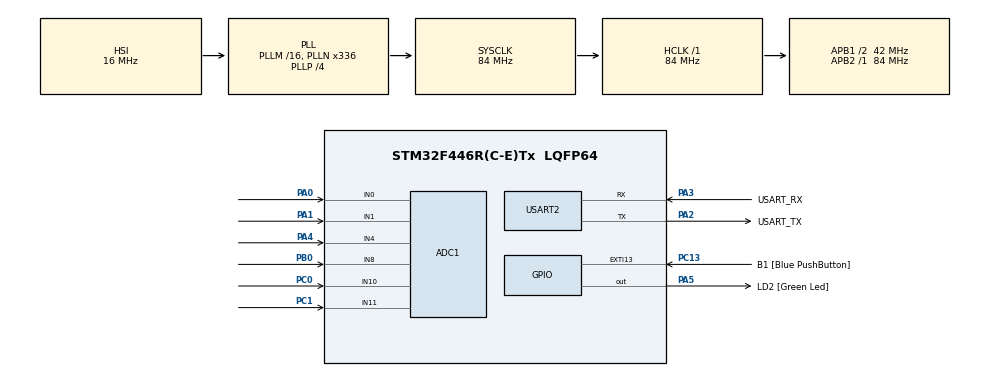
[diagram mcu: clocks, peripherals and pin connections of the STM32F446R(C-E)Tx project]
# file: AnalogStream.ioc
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ADC1.Channel-1\#ChannelRegularConversion=ADC_CHANNEL_0
ADC1.Channel-2\#ChannelRegularConversion=ADC_CHANNEL_1
ADC1.Channel-3\#ChannelRegularConversion=ADC_CHANNEL_4
ADC1.Channel-4\#ChannelRegularConversion=ADC_CHANNEL_8
ADC1.Channel-5\#ChannelRegularConversion=ADC_CHANNEL_10
ADC1.Channel-6\#ChannelRegularConversion=ADC_CHANNEL_11
ADC1.ContinuousConvMode=DISABLE
ADC1.DMAContinuousRequests=ENABLE
ADC1.ExternalTrigConv=ADC_EXTERNALTRIGCONV_T2_TRGO
ADC1.NbrOfConversion=6
ADC1.NbrOfConversionFlag=1
ADC1.Rank-1\#ChannelRegularConversion=1
ADC1.Rank-2\#ChannelRegularConversion=2
ADC1.Rank-3\#ChannelRegularConversion=3
ADC1.Rank-4\#ChannelRegularConversion=4
ADC1.Rank-5\#ChannelRegularConversion=5
ADC1.Rank-6\#ChannelRegularConversion=6
ADC1.SamplingTime-1\#ChannelRegularConversion=ADC_SAMPLETIME_3CYCLES
ADC1.SamplingTime-2\#ChannelRegularConversion=ADC_SAMPLETIME_3CYCLES
ADC1.SamplingTime-3\#ChannelRegularConversion=ADC_SAMPLETIME_3CYCLES
ADC1.SamplingTime-4\#ChannelRegularConversion=ADC_SAMPLETIME_3CYCLES
ADC1.SamplingTime-5\#ChannelRegularConversion=ADC_SAMPLETIME_3CYCLES
ADC1.SamplingTime-6\#ChannelRegularConversion=ADC_SAMPLETIME_3CYCLES
ADC1.ScanConvMode=ENABLE
ADC1.master=1
Dma.ADC1.0.Direction=DMA_PERIPH_TO_MEMORY
Dma.ADC1.0.FIFOMode=DMA_FIFOMODE_DISABLE
Dma.ADC1.0.Instance=DMA2_Stream0
Dma.ADC1.0.MemDataAlignment=DMA_MDATAALIGN_HALFWORD
Dma.ADC1.0.MemInc=DMA_MINC_ENABLE
Dma.ADC1.0.Mode=DMA_CIRCULAR
Dma.ADC1.0.PeriphDataAlignment=DMA_PDATAALIGN_HALFWORD
Dma.ADC1.0.PeriphInc=DMA_PINC_DISABLE
Dma.ADC1.0.Priority=DMA_PRIORITY_LOW
Dma.Request0=ADC1
Mcu.Family=STM32F4
Mcu.Name=STM32F446R(C-E)Tx
Mcu.Package=LQFP64
NVIC.DMA2_Stream0_IRQn=true\:0\:0\:false\:false\:true\:false\:true\:true
NVIC.PriorityGroup=NVIC_PRIORITYGROUP_0
NVIC.TIM2_IRQn=true\:0\:0\:false\:false\:true\:true\:true\:true
PA0-WKUP.Signal=ADCx_IN0
PA1.Signal=ADCx_IN1
PA13.GPIO_Label=TMS
PA13.Mode=Serial_Wire
PA13.Signal=SYS_JTMS-SWDIO
PA14.GPIO_Label=TCK
PA14.Mode=Serial_Wire
PA14.Signal=SYS_JTCK-SWCLK
PA2.GPIO_Label=USART_TX
PA2.Mode=Asynchronous
PA2.Signal=USART2_TX
PA3.GPIO_Label=USART_RX
PA3.Mode=Asynchronous
PA3.Signal=USART2_RX
PA4.Signal=ADCx_IN4
PA5.GPIO_Label=LD2 [Green Led]
PA5.Signal=GPIO_Output
PB0.Signal=ADCx_IN8
PB3.GPIO_Label=SWO
PB3.Signal=SYS_JTDO-SWO
PC0.Signal=ADCx_IN10
PC1.Signal=ADCx_IN11
PC13.GPIO_Label=B1 [Blue PushButton]
PC13.GPIO_ModeDefaultEXTI=GPIO_MODE_IT_FALLING
PC13.Signal=GPXTI13
PC14-OSC32_IN.Mode=LSE-External-Oscillator
PC14-OSC32_IN.Signal=RCC_OSC32_IN
PC15-OSC32_OUT.Mode=LSE-External-Oscillator
PC15-OSC32_OUT.Signal=RCC_OSC32_OUT
PH0-OSC_IN.Mode=HSE-External-Oscillator
PH0-OSC_IN.Signal=RCC_OSC_IN
PH1-OSC_OUT.Mode=HSE-External-Oscillator
PH1-OSC_OUT.Signal=RCC_OSC_OUT
ProjectManager.HeapSize=0x200
ProjectManager.StackSize=0x400
ProjectManager.TargetToolchain=STM32CubeIDE
RCC.48MHZClocksFreq_Value=84000000
RCC.AHBFreq_Value=84000000
RCC.APB1CLKDivider=RCC_HCLK_DIV2
RCC.APB1Freq_Value=42000000
RCC.APB1TimFreq_Value=84000000
RCC.APB2Freq_Value=84000000
RCC.APB2TimFreq_Value=84000000
RCC.CortexFreq_Value=84000000
RCC.FLatency-AdvancedSettings=FLASH_LATENCY_2
RCC.HCLKFreq_Value=84000000
RCC.HSE_VALUE=8000000
RCC.HSI_VALUE=16000000
RCC.PLLN=336
RCC.PLLP=RCC_PLLP_DIV4
RCC.SYSCLKFreq_VALUE=84000000
RCC.SYSCLKSource=RCC_SYSCLKSOURCE_PLLCLK
RCC.USBFreq_Value=168000000
RCC.VCOOutputFreq_Value=336000000
SH.ADCx_IN0.0=ADC1_IN0,IN0
SH.ADCx_IN1.0=ADC1_IN1,IN1
SH.ADCx_IN10.0=ADC1_IN10,IN10
SH.ADCx_IN11.0=ADC1_IN11,IN11
SH.ADCx_IN4.0=ADC1_IN4,IN4
SH.ADCx_IN8.0=ADC1_IN8,IN8
TIM2.AutoReloadPreload=TIM_AUTORELOAD_PRELOAD_ENABLE
TIM2.Period=5000
TIM2.Prescaler=84
TIM2.TIM_MasterOutputTrigger=TIM_TRGO_UPDATE
USART2.VirtualMode=VM_ASYNC
VP_TIM2_VS_ClockSourceINT.Mode=Internal
board=NUCLEO-F446RE

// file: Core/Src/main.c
/* USER CODE BEGIN Header */
/**
 ******************************************************************************
 * @file           : main.c
 * @brief          : Main program body
 ******************************************************************************
 * @attention
 *
 * Copyright (c) 2023 STMicroelectronics.
 * All rights reserved.
 *
 * This software is licensed under terms that can be found in the LICENSE file
 * in the root directory of this software component.
 * If no LICENSE file comes with this software, it is provided AS-IS.
 *
 ******************************************************************************
 */
/* USER CODE END Header */
#include "main.h"

/* USER CODE BEGIN PD */
#define ADC_BUFFER_LENGTH 12
/* USER CODE END PD */

ADC_HandleTypeDef hadc1;
DMA_HandleTypeDef hdma_adc1;

TIM_HandleTypeDef htim2;

UART_HandleTypeDef huart2;

/* USER CODE BEGIN PV */

uint16_t adc_buffer[ADC_BUFFER_LENGTH];

/* USER CODE END PV */

void SystemClock_Config(void);
static void MX_GPIO_Init(void);
static void MX_DMA_Init(void);
static void MX_USART2_UART_Init(void);
static void MX_TIM2_Init(void);
static void MX_ADC1_Init(void);

int main(void)
{

  /* MCU Configuration--------------------------------------------------------*/

  /* Reset of all peripherals, Initializes the Flash interface and the Systick. */
  HAL_Init();

  /* Configure the system clock */
  SystemClock_Config();

  /* Initialize all configured peripherals */
  MX_GPIO_Init();
  MX_DMA_Init();
  MX_USART2_UART_Init();
  MX_TIM2_Init();
  MX_ADC1_Init();
  /* USER CODE BEGIN 2 */
  // HAL_GPIO_TogglePin(LD2_GPIO_Port, LD2_Pin);
  // HAL_ADCEx_Calibration_Start(&hadc1);
  HAL_TIM_Base_Start_IT(&htim2);
  HAL_ADC_Start_DMA(&hadc1, (uint32_t *)adc_buffer, ADC_BUFFER_LENGTH);
  /* USER CODE END 2 */

  /* Infinite loop */
  while (1)
  {

  }
}

void SystemClock_Config(void)
{
  RCC_OscInitTypeDef RCC_OscInitStruct = {0};
  RCC_ClkInitTypeDef RCC_ClkInitStruct = {0};

  /** Configure the main internal regulator output voltage
  */
  __HAL_RCC_PWR_CLK_ENABLE();
  __HAL_PWR_VOLTAGESCALING_CONFIG(PWR_REGULATOR_VOLTAGE_SCALE3);

  /** Initializes the RCC Oscillators according to the specified parameters
  * in the RCC_OscInitTypeDef structure.
  */
  RCC_OscInitStruct.OscillatorType = RCC_OSCILLATORTYPE_HSI;
  RCC_OscInitStruct.HSIState = RCC_HSI_ON;
  RCC_OscInitStruct.HSICalibrationValue = RCC_HSICALIBRATION_DEFAULT;
  RCC_OscInitStruct.PLL.PLLState = RCC_PLL_ON;
  RCC_OscInitStruct.PLL.PLLSource = RCC_PLLSOURCE_HSI;
  RCC_OscInitStruct.PLL.PLLM = 16;
  RCC_OscInitStruct.PLL.PLLN = 336;
  RCC_OscInitStruct.PLL.PLLP = RCC_PLLP_DIV4;
  RCC_OscInitStruct.PLL.PLLQ = 2;
  RCC_OscInitStruct.PLL.PLLR = 2;
  if (HAL_RCC_OscConfig(&RCC_OscInitStruct) != HAL_OK)
  {
    Error_Handler();
  }

  /** Initializes the CPU, AHB and APB buses clocks
  */
  RCC_ClkInitStruct.ClockType = RCC_CLOCKTYPE_HCLK|RCC_CLOCKTYPE_SYSCLK
                              |RCC_CLOCKTYPE_PCLK1|RCC_CLOCKTYPE_PCLK2;
  RCC_ClkInitStruct.SYSCLKSource = RCC_SYSCLKSOURCE_PLLCLK;
  RCC_ClkInitStruct.AHBCLKDivider = RCC_SYSCLK_DIV1;
  RCC_ClkInitStruct.APB1CLKDivider = RCC_HCLK_DIV2;
  RCC_ClkInitStruct.APB2CLKDivider = RCC_HCLK_DIV1;

  if (HAL_RCC_ClockConfig(&RCC_ClkInitStruct, FLASH_LATENCY_2) != HAL_OK)
  {
    Error_Handler();
  }
}

static void MX_ADC1_Init(void)
{

  ADC_ChannelConfTypeDef sConfig = {0};

  /** Configure the global features of the ADC (Clock, Resolution, Data Alignment and number of conversion)
  */
  hadc1.Instance = ADC1;
  hadc1.Init.ClockPrescaler = ADC_CLOCK_SYNC_PCLK_DIV4;
  hadc1.Init.Resolution = ADC_RESOLUTION_12B;
  hadc1.Init.ScanConvMode = ENABLE;
  hadc1.Init.ContinuousConvMode = DISABLE;
  hadc1.Init.DiscontinuousConvMode = DISABLE;
  hadc1.Init.ExternalTrigConvEdge = ADC_EXTERNALTRIGCONVEDGE_RISING;
  hadc1.Init.ExternalTrigConv = ADC_EXTERNALTRIGCONV_T2_TRGO;
  hadc1.Init.DataAlign = ADC_DATAALIGN_RIGHT;
  hadc1.Init.NbrOfConversion = 6;
  hadc1.Init.DMAContinuousRequests = ENABLE;
  hadc1.Init.EOCSelection = ADC_EOC_SINGLE_CONV;
  if (HAL_ADC_Init(&hadc1) != HAL_OK)
  {
    Error_Handler();
  }

  /** Configure for the selected ADC regular channel its corresponding rank in the sequencer and its sample time.
  */
  sConfig.Channel = ADC_CHANNEL_0;
  sConfig.Rank = 1;
  sConfig.SamplingTime = ADC_SAMPLETIME_3CYCLES;
  if (HAL_ADC_ConfigChannel(&hadc1, &sConfig) != HAL_OK)
  {
    Error_Handler();
  }

  /** Configure for the selected ADC regular channel its corresponding rank in the sequencer and its sample time.
  */
  sConfig.Channel = ADC_CHANNEL_1;
  sConfig.Rank = 2;
  if (HAL_ADC_ConfigChannel(&hadc1, &sConfig) != HAL_OK)
  {
    Error_Handler();
  }

  /** Configure for the selected ADC regular channel its corresponding rank in the sequencer and its sample time.
  */
  sConfig.Channel = ADC_CHANNEL_4;
  sConfig.Rank = 3;
  if (HAL_ADC_ConfigChannel(&hadc1, &sConfig) != HAL_OK)
  {
    Error_Handler();
  }

  /** Configure for the selected ADC regular channel its corresponding rank in the sequencer and its sample time.
  */
  sConfig.Channel = ADC_CHANNEL_8;
  sConfig.Rank = 4;
  if (HAL_ADC_ConfigChannel(&hadc1, &sConfig) != HAL_OK)
  {
    Error_Handler();
  }

  /** Configure for the selected ADC regular channel its corresponding rank in the sequencer and its sample time.
  */
  sConfig.Channel = ADC_CHANNEL_10;
  sConfig.Rank = 5;
  if (HAL_ADC_ConfigChannel(&hadc1, &sConfig) != HAL_OK)
  {
    Error_Handler();
  }

  /** Configure for the selected ADC regular channel its corresponding rank in the sequencer and its sample time.
  */
  sConfig.Channel = ADC_CHANNEL_11;
  sConfig.Rank = 6;
  if (HAL_ADC_ConfigChannel(&hadc1, &sConfig) != HAL_OK)
  {
    Error_Handler();
  }

}

static void MX_TIM2_Init(void)
{

  TIM_ClockConfigTypeDef sClockSourceConfig = {0};
  TIM_MasterConfigTypeDef sMasterConfig = {0};

  htim2.Instance = TIM2;
  htim2.Init.Prescaler = 84;
  htim2.Init.CounterMode = TIM_COUNTERMODE_UP;
  htim2.Init.Period = 5000;
  htim2.Init.ClockDivision = TIM_CLOCKDIVISION_DIV1;
  htim2.Init.AutoReloadPreload = TIM_AUTORELOAD_PRELOAD_ENABLE;
  if (HAL_TIM_Base_Init(&htim2) != HAL_OK)
  {
    Error_Handler();
  }
  sClockSourceConfig.ClockSource = TIM_CLOCKSOURCE_INTERNAL;
  if (HAL_TIM_ConfigClockSource(&htim2, &sClockSourceConfig) != HAL_OK)
  {
    Error_Handler();
  }
  sMasterConfig.MasterOutputTrigger = TIM_TRGO_UPDATE;
  sMasterConfig.MasterSlaveMode = TIM_MASTERSLAVEMODE_DISABLE;
  if (HAL_TIMEx_MasterConfigSynchronization(&htim2, &sMasterConfig) != HAL_OK)
  {
    Error_Handler();
  }

}

static void MX_USART2_UART_Init(void)
{

  huart2.Instance = USART2;
  huart2.Init.BaudRate = 115200;
  huart2.Init.WordLength = UART_WORDLENGTH_8B;
  huart2.Init.StopBits = UART_STOPBITS_1;
  huart2.Init.Parity = UART_PARITY_NONE;
  huart2.Init.Mode = UART_MODE_TX_RX;
  huart2.Init.HwFlowCtl = UART_HWCONTROL_NONE;
  huart2.Init.OverSampling = UART_OVERSAMPLING_16;
  if (HAL_UART_Init(&huart2) != HAL_OK)
  {
    Error_Handler();
  }

}

static void MX_DMA_Init(void)
{

  /* DMA controller clock enable */
  __HAL_RCC_DMA2_CLK_ENABLE();

  /* DMA interrupt init */
  /* DMA2_Stream0_IRQn interrupt configuration */
  HAL_NVIC_SetPriority(DMA2_Stream0_IRQn, 0, 0);
  HAL_NVIC_EnableIRQ(DMA2_Stream0_IRQn);

}

static void MX_GPIO_Init(void)
{
  GPIO_InitTypeDef GPIO_InitStruct = {0};

  /* GPIO Ports Clock Enable */
  __HAL_RCC_GPIOC_CLK_ENABLE();
  __HAL_RCC_GPIOH_CLK_ENABLE();
  __HAL_RCC_GPIOA_CLK_ENABLE();
  __HAL_RCC_GPIOB_CLK_ENABLE();

  /*Configure GPIO pin Output Level */
  HAL_GPIO_WritePin(LD2_GPIO_Port, LD2_Pin, GPIO_PIN_RESET);

  /*Configure GPIO pin : B1_Pin */
  GPIO_InitStruct.Pin = B1_Pin;
  GPIO_InitStruct.Mode = GPIO_MODE_IT_FALLING;
  GPIO_InitStruct.Pull = GPIO_NOPULL;
  HAL_GPIO_Init(B1_GPIO_Port, &GPIO_InitStruct);

  /*Configure GPIO pin : LD2_Pin */
  GPIO_InitStruct.Pin = LD2_Pin;
  GPIO_InitStruct.Mode = GPIO_MODE_OUTPUT_PP;
  GPIO_InitStruct.Pull = GPIO_NOPULL;
  GPIO_InitStruct.Speed = GPIO_SPEED_FREQ_LOW;
  HAL_GPIO_Init(LD2_GPIO_Port, &GPIO_InitStruct);

}

/* USER CODE BEGIN 4 */

void HAL_TIM_PeriodElapsedCallback(TIM_HandleTypeDef *htim)
{
  if (htim->Instance == TIM2)
  {
    // HAL_GPIO_TogglePin(LD2_GPIO_Port, LD2_Pin);
  }
}

void handleBufferFull(offset)
{
  HAL_GPIO_TogglePin(LD2_GPIO_Port, LD2_Pin);
  // convert 10 samples to JSON
  char buffer[100] = "[";
  for (int i = offset; i < ADC_BUFFER_LENGTH / 2 + offset; i++)
  {
    char temp[10];
    sprintf(temp, "%d", adc_buffer[i]);
    strcat(buffer, temp);
    if (i < ADC_BUFFER_LENGTH / 2 + offset - 1)
    {
      strcat(buffer, ",");
    }
  }
  strcat(buffer, "]\r\n");
  HAL_UART_Transmit(&huart2, (uint8_t *)buffer, strlen(buffer), 1000);
}

void HAL_ADC_ConvHalfCpltCallback(ADC_HandleTypeDef *hadc)
{
  if (hadc->Instance == ADC1)
  {
    handleBufferFull(0);
  }
}

void HAL_ADC_ConvCpltCallback(ADC_HandleTypeDef *hadc)
{
  if (hadc->Instance == ADC1)
  {
    handleBufferFull(ADC_BUFFER_LENGTH / 2);
  }
}

/* USER CODE END 4 */

void Error_Handler(void)
{
  __disable_irq();
  while (1)
  {
  }
}
